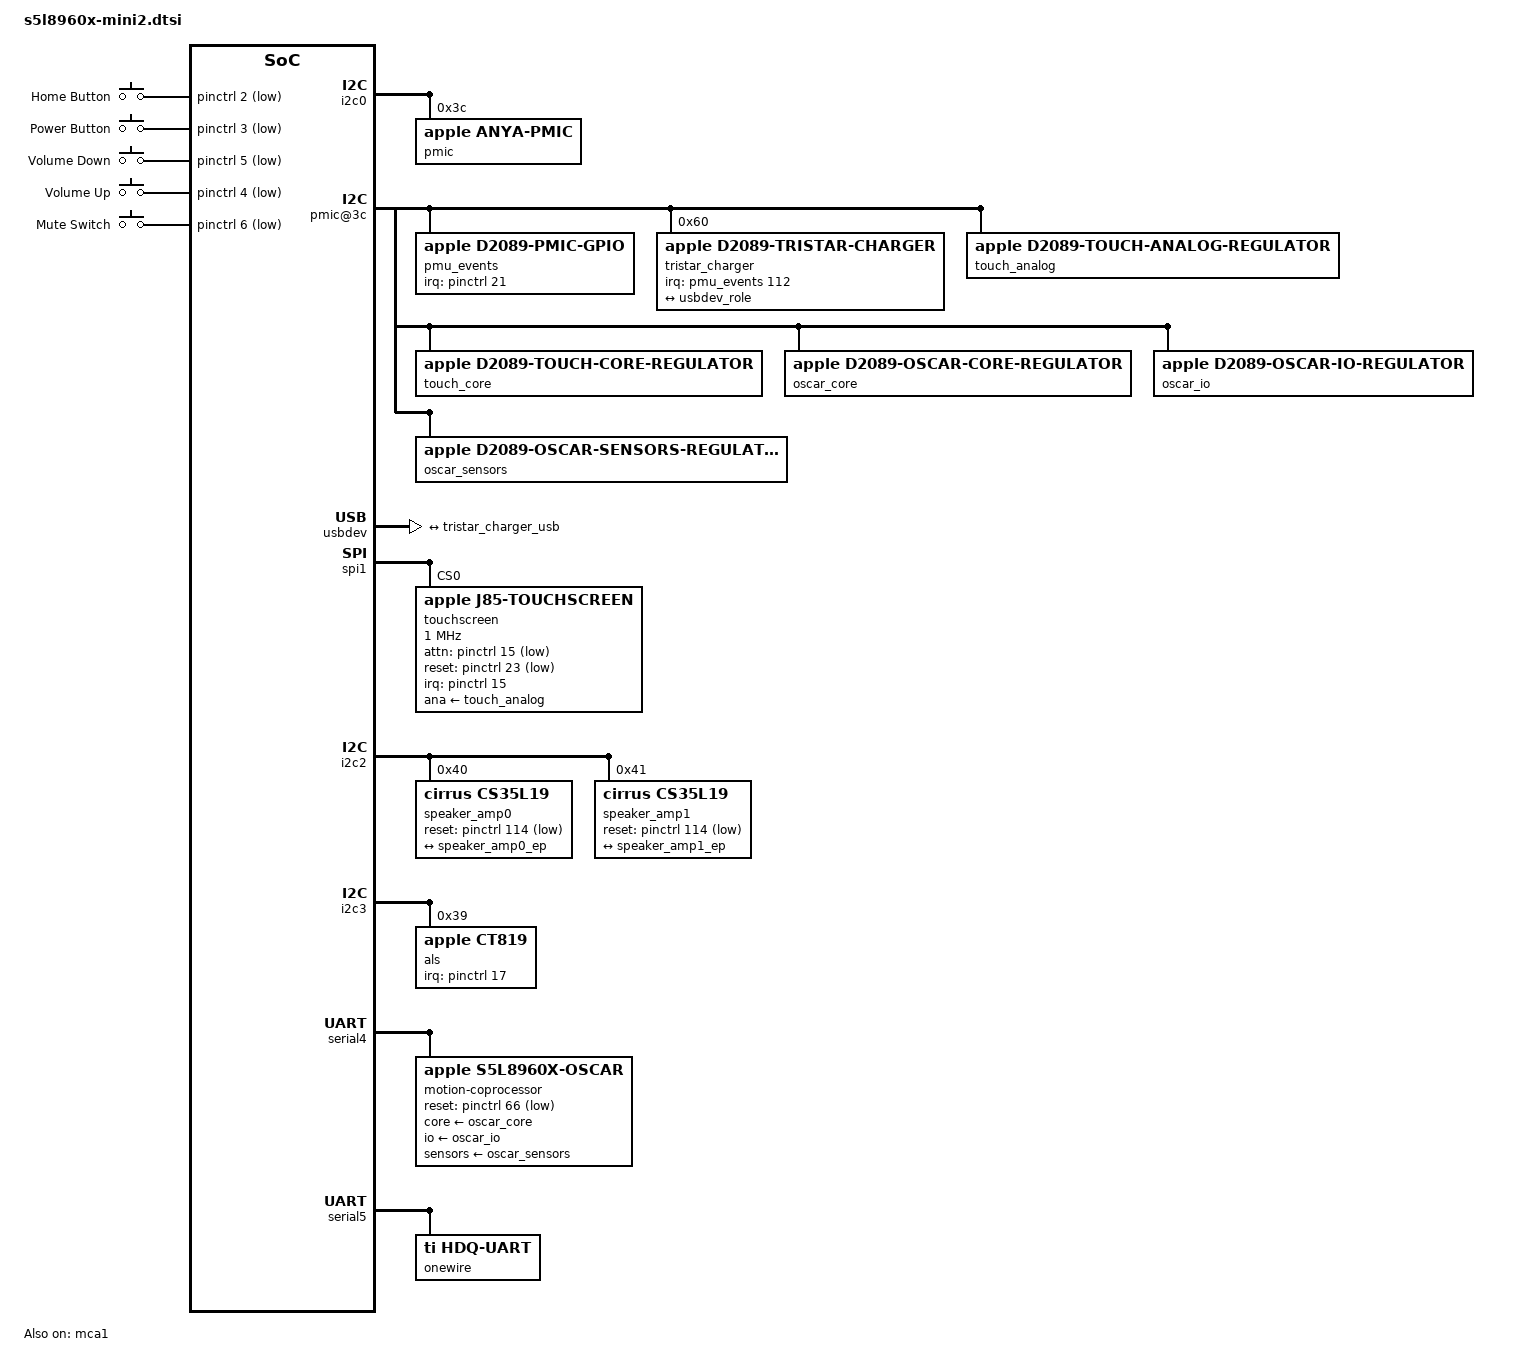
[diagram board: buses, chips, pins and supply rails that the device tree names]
// SPDX-License-Identifier: GPL-2.0+ OR MIT
/*
 * Apple iPad mini 2 common device tree
 * Based on A7 (APL0698), up to 1.3GHz
 *
 * Copyright (c) 2022, Konrad Dybcio <konradybcio@kernel.org>
 */

#include "s5l8960x.dtsi"
#include "s5l8960x-common.dtsi"
#include "s5l8960x-opp.dtsi"
#include <dt-bindings/input/input.h>

/ {
	chassis-type = "tablet";

	gpio-keys {
		compatible = "gpio-keys";

		button-home {
			label = "Home Button";
			gpios = <&pinctrl 2 GPIO_ACTIVE_LOW>;
			linux,code = <KEY_HOMEPAGE>;
			wakeup-source;
		};

		button-power {
			label = "Power Button";
			gpios = <&pinctrl 3 GPIO_ACTIVE_LOW>;
			linux,code = <KEY_POWER>;
			wakeup-source;
		};

		button-voldown {
			label = "Volume Down";
			gpios = <&pinctrl 5 GPIO_ACTIVE_LOW>;
			linux,code = <KEY_VOLUMEDOWN>;
		};

		button-volup {
			label = "Volume Up";
			gpios = <&pinctrl 4 GPIO_ACTIVE_LOW>;
			linux,code = <KEY_VOLUMEUP>;
		};

		switch-mute {
			label = "Mute Switch";
			gpios = <&pinctrl 6 GPIO_ACTIVE_LOW>;
			linux,code = <KEY_MUTE>;
		};
	};
};

&framebuffer0 {
	power-domains = <&ps_disp0 &ps_dp>;
};

&i2c0 {
	status = "okay";

	pmic@3c {
		compatible = "apple,anya-pmic", "apple,i2c-pmic";
		reg = <0x3c>;
		#address-cells = <1>;
		#size-cells = <1>;

		rtc@5c0 {
			compatible = "apple,anya-pmic-rtc", "apple,amber-pmic-rtc";
			reg = <0x5c0 0x10>;
			nvmem-cells = <&rtc_offset>;
			nvmem-cell-names = "rtc_offset";
		};

		backlight@600 {
			compatible = "apple,anya-pmic-bl";
			reg = <0x600 0x2>;
		};

		nvmem@4000 {
			compatible = "apple,pmic-nvmem";
			reg = <0x4000 0x28>;

			nvmem-layout {
				compatible = "fixed-layout";
				#address-cells = <1>;
				#size-cells = <1>;

				rtc_offset: rtc-offset@4 {
					reg = <0x4 0x4>;
				};
			};
		};
	};
};

/*
 * Lightning charging, at the D2089's registers as iOS 12
 * AppleD2089PMUPowerSource uses them: connection and charger state at
 * 0x60, the input-current limit at 0x4c0, the ADC at 0x500.
 */
&{/soc/i2c@20a110000/pmic@3c} {
	/* The PMU event line, from the ADT pmu node: AP GPIO 21. */
	pmu_events: interrupt-controller {
		compatible = "apple,d2089-pmic-gpio";
		interrupt-controller;
		#interrupt-cells = <2>;
		interrupts-extended = <&pinctrl 21 IRQ_TYPE_LEVEL_LOW>;
	};

	/*
	 * The ADT's charger node allows 0x960 = 2400 mA of input on every iPad mini 2 and 3.
	 * The maximum here is the highest input limit measured on an A7
	 * so far: 1500 mA (0x72) charged an iPad mini 2's battery at +958 mA
	 * from a Mac's CDP port, at 31 C. Before that, 1050 mA (0x4e)
	 * charged a J72's battery at +279 to +423 mA under the desktop, at
	 * 36 C, in thisiscamk's ten-minute run.
	 */
	tristar_charger: charger@60 {
		compatible = "apple,d2089-tristar-charger";
		reg = <0x60 0x0d>, <0x4c0 0x01>, <0x500 0x04>;
		reg-names = "status", "control", "adc";
		interrupt-parent = <&pmu_events>;
		/*
		 * The PMU line, ADC done and the D2089's plug event (event 0),
		 * which wakes the system when the source changes during sleep.
		 */
		interrupts = <112 IRQ_TYPE_EDGE_RISING>,
			     <89 IRQ_TYPE_EDGE_RISING>,
			     <0 IRQ_TYPE_EDGE_RISING>;
		apple,tristar = <&tristar>;
		input-current-limit-microamp = <1500000>;

		/* The charger decides when USB data may come on. */
		port {
			tristar_charger_usb: endpoint {
				remote-endpoint = <&usbdev_role>;
			};
		};
	};
};

&i2c0 {
	status = "okay";

	/* The Lightning port controller, from the ADT i2c0/tristar node. */
	tristar: port-controller@1a {
		compatible = "nxp,cbtl1610";
		reg = <0x1a>;
	};
};

/* Tell the Lightning charger what the USB host allows. */
&usbdev {
	usb-psy-name = "lightning";
	usb-role-switch;

	port {
		usbdev_role: endpoint {
			remote-endpoint = <&tristar_charger_usb>;
		};
	};
};

/ {
	/*
	 * The BCM43241 Wi-Fi radio on HSIC, where the device trees of
	 * the J85-J87 and J85m-J87m put it (/arm-io/usb-complex/usb-ehci1/wlan):
	 * EHCI1 root port 1, its HSIC PHY at usb-complex +0x60, HOST_READY
	 * on GPIO 163, DEVICE_READY on GPIO 164 and the reset on the D2089's
	 * GPIO3. apple-a7-wlan owns it.
	 */
	wifi@20c000060 {
		compatible = "apple,s5l8960x-hsic-wlan";
		reg = <0x2 0x0c000060 0x0 0x10>, <0x2 0x0c400000 0x0 0x10000>;
		reg-names = "phy", "ehci";
		interrupt-parent = <&aic>;
		interrupts = <AIC_IRQ 165 IRQ_TYPE_LEVEL_HIGH>;
		power-domains = <&ps_hsic2_phy>;
		apple,ehci-port = <1>;
		host-ready-gpios = <&pinctrl 163 GPIO_ACTIVE_HIGH>;
		device-ready-gpios = <&pinctrl 164 GPIO_ACTIVE_HIGH>;
	};
};


/*
 * The touchscreen: an N1 on SPI1, the same in the device trees of every
 * iPad mini 2 and 3 (J85-J87, J85m-J87m: /arm-io/spi1/multi-touch,
 * multi-touch,j85): chip select GPIO 71, attention GPIO 15, reset GPIO 23,
 * display sync GPIO 119, the D2089's analog supply and core LDO. The J85,
 * J86 and J87 ship the same J85.mtprops, and the iPad mini 3, whose tree
 * names the j85 controller, has none of its own, so the firmware is the
 * j85 one on each. The loader adds the unit's calibration through the
 * touchscreen0 alias.
 */
/ {
	aliases {
		touchscreen0 = &touchscreen; /* Used by loader */
	};
};

&pinctrl {
	spi1_sleep_pins: spi1-sleep-pins {
		pinmux = <APPLE_PINMUX(71, 0)>;
	};

	touch_sync_active: touch-sync-active-pins {
		pinmux = <APPLE_PINMUX(119, 1)>;
	};

	touch_sync_inactive: touch-sync-inactive-pins {
		pinmux = <APPLE_PINMUX(119, 0)>;
	};
};

&{/soc/i2c@20a110000/pmic@3c} {
	touch_analog: regulator-touch-analog {
		compatible = "apple,d2089-touch-analog-regulator";
		regulator-name = "touch-analog";
	};

	/* The N1 runtime switches only the analog supply; keep the LDO on. */
	touch_core: regulator-touch-core {
		compatible = "apple,d2089-touch-core-regulator";
		regulator-name = "touch-core";
		regulator-always-on;
	};
};

&touchclk {
	status = "okay";
};

&spi1 {
	pinctrl-names = "default", "sleep";
	pinctrl-1 = <&spi1_sleep_pins>;
	status = "okay";

	touchscreen: touchscreen@0 {
		compatible = "apple,j85-touchscreen";
		reg = <0>;
		spi-max-frequency = <1000000>;
		interrupt-parent = <&pinctrl>;
		interrupts = <15 IRQ_TYPE_EDGE_FALLING>;
		attn-gpios = <&pinctrl 15 GPIO_ACTIVE_LOW>;
		reset-gpios = <&pinctrl 23 GPIO_ACTIVE_LOW>;
		clocks = <&touchclk>;
		ana-supply = <&touch_analog>;
		pinctrl-names = "display-sync-active", "display-sync-inactive";
		pinctrl-0 = <&touch_sync_active>;
		pinctrl-1 = <&touch_sync_inactive>;
		touchscreen-size-x = <1536>;
		touchscreen-size-y = <2048>;
		touchscreen-inverted-y;
		firmware-name = "apple/j85-fwstart.z2fw";
		/* apple,z2-cal-blob: the unit's calibration, filled in by the loader */
	};
};

/*
 * Speakers, the same on every iPad mini 2 and 3 (IPSW device trees of
 * J85, J86, J87, J85m, J86m and J87m): two CS35L19 amplifiers on I2C2,
 * audio-speaker0 at 0x40 and its secondary at 0x41, sharing the reset on
 * GPIO 114, fed by MCA1 (aud1 to pin1) over TDM, 8 x 16-bit slots,
 * amplifier n in slot n. The MCA is a consumer: the first amplifier
 * drives the frame from MCA1's 12 MHz MCLK. SmartIO endpoint 0x2a carries
 * the samples. speaker-config is the IPSW's record, the same for both.
 * Full scale is bounded to -12 dB in the MCA; there is no speaker
 * protection. iOS feeds the amplifiers' alive watchdog on GPIO 161; the
 * driver keeps it off instead, so it is not described.
 */
&mca1 {
	status = "okay";

	mca1_port: port {
		mca1_ep: endpoint {
			remote-endpoint = <&speakers_cpu_ep>;
			format = "dsp_a";
		};
	};
};

&i2c2 {
	status = "okay";

	speaker_amp0: amplifier@40 {
		compatible = "cirrus,cs35l19";
		reg = <0x40>;
		reset-gpios = <&pinctrl 114 GPIO_ACTIVE_LOW>;
		clocks = <&mca1>;
		clock-names = "mclk";
		apple,speaker-config = /bits/ 8 <
			0x49 0x30 0x02 0x70 0x6a 0x80 0x30 0x1e 0x02 0x04
			0x14 0x89 0x8a 0x10 0x74 0x03 0x05 0x00 0x00 0x40>;
		#sound-dai-cells = <0>;
		sound-name-prefix = "Left";

		port {
			amp0_ep: endpoint {
				remote-endpoint = <&speaker_amp0_ep>;
				dai-tdm-slot-num = <8>;
				dai-tdm-slot-width = <16>;
				dai-tdm-slot-rx-mask = <1>;		/* slot 0 */
				bitclock-master;
				frame-master;
			};
		};
	};

	speaker_amp1: amplifier@41 {
		compatible = "cirrus,cs35l19";
		reg = <0x41>;
		reset-gpios = <&pinctrl 114 GPIO_ACTIVE_LOW>;
		clocks = <&mca1>;
		clock-names = "mclk";
		apple,speaker-config = /bits/ 8 <
			0x49 0x30 0x02 0x70 0x6a 0x80 0x30 0x1e 0x02 0x04
			0x14 0x89 0x8a 0x10 0x74 0x03 0x05 0x00 0x00 0x40>;
		#sound-dai-cells = <0>;
		sound-name-prefix = "Right";

		port {
			amp1_ep: endpoint {
				remote-endpoint = <&speaker_amp1_ep>;
				dai-tdm-slot-num = <8>;
				dai-tdm-slot-width = <16>;
				dai-tdm-slot-rx-mask = <0 1>;		/* slot 1 */
			};
		};
	};
};

/ {
	sound-speakers {
		compatible = "audio-graph-card2";
		label = "iPad mini Speakers";
		links = <&mca1_port>;

		multi {
			#address-cells = <1>;
			#size-cells = <0>;

			ports@0 {
				reg = <0>;
				#address-cells = <1>;
				#size-cells = <0>;

				port@0 {
					reg = <0>;
					speakers_cpu_ep: endpoint {
						remote-endpoint = <&mca1_ep>;
					};
				};

				port@1 {
					reg = <1>;
					speaker_amp0_ep: endpoint {
						remote-endpoint = <&amp0_ep>;
					};
				};

				port@2 {
					reg = <2>;
					speaker_amp1_ep: endpoint {
						remote-endpoint = <&amp1_ep>;
					};
				};
			};
		};
	};
};

/*
 * The ambient light sensor, the same in the device trees of every iPad
 * mini 2 and 3 (J85-J87, J85m-J87m: i2c3/als, als,ct819 at 0x39, interrupt
 * GPIO 17). Its alsCalibration refers to the unit's SysCfg LSCI record,
 * which the loader copies through the als0 alias.
 */
/ {
	aliases {
		als0 = &als;
	};
};

&i2c3 {
	status = "okay";

	/* m1n1 adds apple,als-calibration from the ADT */
	als: light-sensor@39 {
		compatible = "apple,ct819", "amstaos,tsl2581";
		reg = <0x39>;
		interrupts-extended = <&pinctrl 17 IRQ_TYPE_LEVEL_LOW>;
	};
};

/*
 * The M7 motion coprocessor on UART4 (Apple's /arm-io/uart4/oscar, the same
 * on every A7 iPad), with the accelerometer, gyroscope and compass behind
 * it. Its supplies are D2089 switches (ADT oscar_power1, oscar_power2 and
 * sensor_power) and its reset is AP GPIO 66, active low (ADT flags 0x1;
 * seen on the J71).
 */
&{/soc/i2c@20a110000/pmic@3c} {
	oscar_core: regulator-oscar-core {
		compatible = "apple,d2089-oscar-core-regulator";
		regulator-name = "oscar-core";
	};

	oscar_io: regulator-oscar-io {
		compatible = "apple,d2089-oscar-io-regulator";
		regulator-name = "oscar-io";
	};

	oscar_sensors: regulator-oscar-sensors {
		compatible = "apple,d2089-oscar-sensors-regulator";
		regulator-name = "oscar-sensors";
	};
};

&serial4 {
	status = "okay";
	pinctrl-0 = <&uart4_pins>;
	pinctrl-names = "default";

	motion-coprocessor {
		compatible = "apple,s5l8960x-oscar";
		core-supply = <&oscar_core>;
		io-supply = <&oscar_io>;
		sensors-supply = <&oscar_sensors>;
		reset-gpios = <&pinctrl 66 GPIO_ACTIVE_LOW>;
		/*
		 * As measured on the iPad Air (J71); the mini's own placement
		 * has not been checked yet.
		 */
		mount-matrix = "1", "0", "0",
			       "0", "1", "0",
			       "0", "0", "1";
	};
};

/*
 * The battery gauge on UART5's HDQ line: a BQ27540 by Apple's device tree
 * (/arm-io/uart5/gas-gauge), the same on every A7 iPad. It runs the gauge
 * firmware profile measured on the J72.
 */
&serial5 {
	status = "okay";

	onewire {
		compatible = "ti,hdq-uart";

		fuel-gauge {
			compatible = "apple,j72-bq27545", "ti,bq27545-hdq";
		};
	};
};

/* The boot loader set up the display; nothing restores it after power loss. */
&ps_disp0 {
	apple,always-on;
	apple,manual-pm;
};

&ps_dp {
	apple,always-on;
	apple,manual-pm;
};
